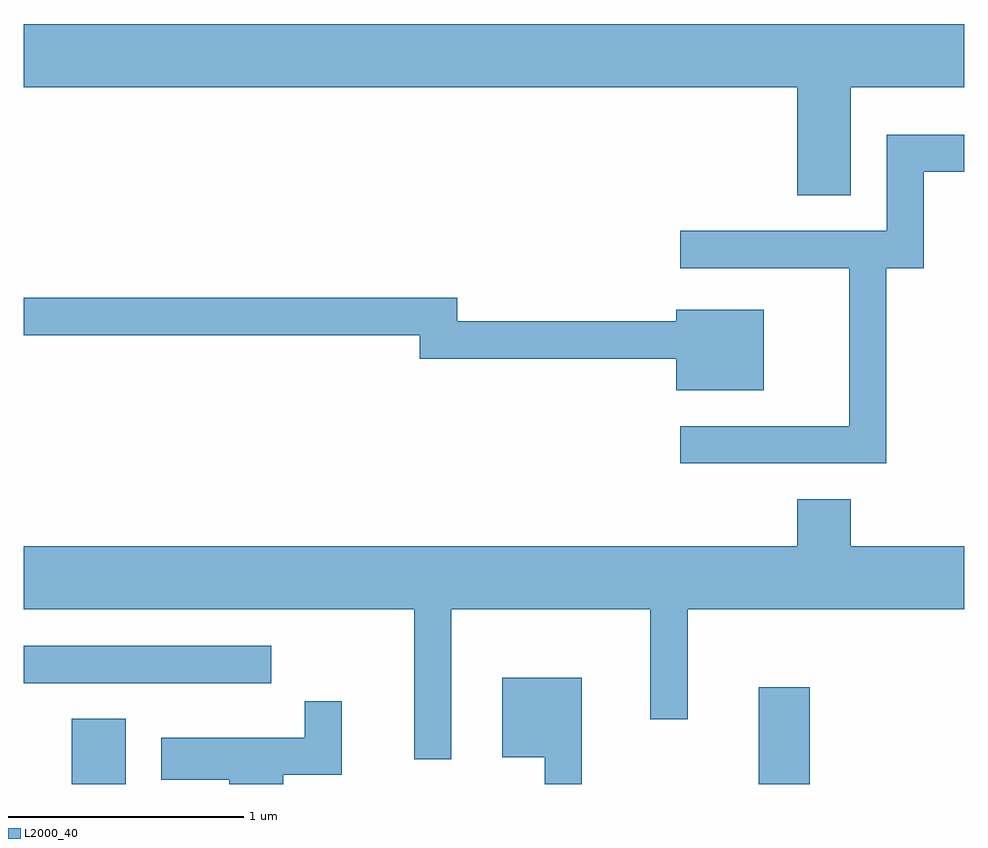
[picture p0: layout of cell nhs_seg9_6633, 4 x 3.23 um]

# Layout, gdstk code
import gdstk
lib = gdstk.Library(unit=1e-6, precision=1e-09)
def R(c, l, rs):  # rectangles x0, y0, x1, y1
    for r in rs: c.add(gdstk.rectangle(r[:2], r[2:], *l))
def P(c, l, *ps):  # polygons
    for p in ps: c.add(gdstk.Polygon(p, *l))
L2000_40 = (2000, 40)

nhs_seg9_6633 = lib.new_cell('nhs_seg9_6633')
R(nhs_seg9_6633, L2000_40, [(381.816,1964.432,382.044,1964.709), (384.736,1964.432,384.954,1964.844), (381.611,1964.861,382.663,1965.019)])
P(nhs_seg9_6633, L2000_40, [(385.129,1967.396),(385.611,1967.396),(385.611,1967.664),(381.611,1967.664),(381.611,1967.396),(384.901,1967.396),(384.901,1966.936),(385.129,1966.936)],
  [(385.279,1966.626),(385.439,1966.626),(385.439,1967.036),(385.611,1967.036),(385.611,1967.194),(385.281,1967.194),(385.281,1966.784),(384.403,1966.784),(384.403,1966.626),(385.121,1966.626),(385.121,1965.954),(384.403,1965.954),(384.403,1965.796),(385.279,1965.796)],
  [(384.759,1966.449),(384.386,1966.449),(384.386,1966.399),(383.454,1966.399),(383.454,1966.499),(381.611,1966.499),(381.611,1966.341),(383.296,1966.341),(383.296,1966.241),(384.386,1966.241),(384.386,1966.106),(384.759,1966.106)],
  [(383.429,1965.176),(384.276,1965.176),(384.276,1964.708),(384.434,1964.708),(384.434,1965.176),(385.611,1965.176),(385.611,1965.444),(385.129,1965.444),(385.129,1965.644),(384.901,1965.644),(384.901,1965.444),(381.611,1965.444),(381.611,1965.176),(383.271,1965.176),(383.271,1964.538),(383.429,1964.538)],
  [(383.984,1964.884),(383.646,1964.884),(383.646,1964.546),(383.826,1964.546),(383.826,1964.432),(383.984,1964.432)],
  [(382.714,1964.471),(382.964,1964.471),(382.964,1964.783),(382.806,1964.783),(382.806,1964.629),(382.196,1964.629),(382.196,1964.451),(382.486,1964.451),(382.486,1964.432),(382.714,1964.432)])

lib.write_gds('nhs_seg9_6633.gds')
